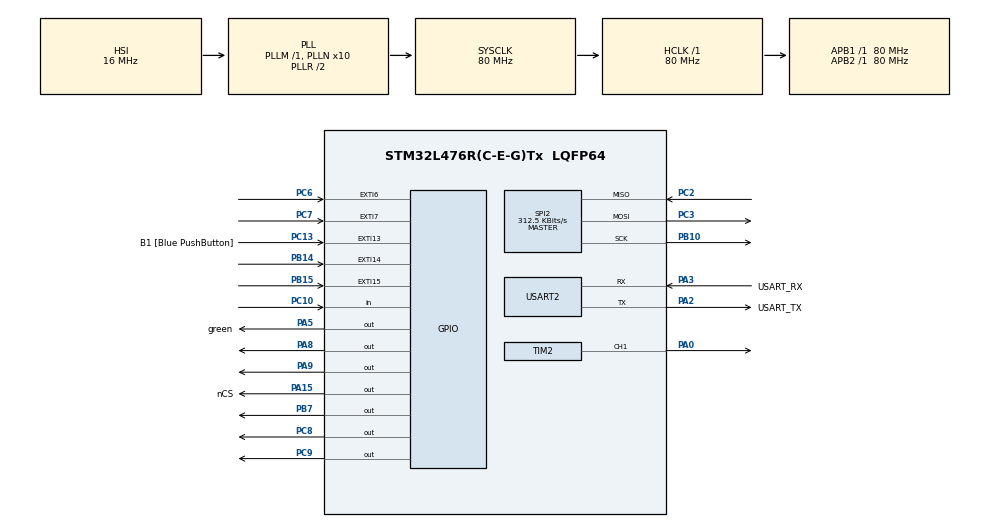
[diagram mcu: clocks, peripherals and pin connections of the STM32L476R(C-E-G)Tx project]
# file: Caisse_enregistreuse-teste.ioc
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Mcu.Family=STM32L4
Mcu.Name=STM32L476R(C-E-G)Tx
Mcu.Package=LQFP64
NVIC.PriorityGroup=NVIC_PRIORITYGROUP_4
NVIC.USART2_IRQn=true\:0\:0\:false\:false\:true\:true\:true\:true
PA0.Signal=S_TIM2_CH1
PA13\ (JTMS-SWDIO).GPIO_Label=TMS
PA13\ (JTMS-SWDIO).Mode=Serial_Wire
PA13\ (JTMS-SWDIO).Signal=SYS_JTMS-SWDIO
PA14\ (JTCK-SWCLK).GPIO_Label=TCK
PA14\ (JTCK-SWCLK).Mode=Serial_Wire
PA14\ (JTCK-SWCLK).Signal=SYS_JTCK-SWCLK
PA15\ (JTDI).GPIO_Label=nCS
PA15\ (JTDI).GPIO_PuPd=GPIO_NOPULL
PA15\ (JTDI).GPIO_Speed=GPIO_SPEED_FREQ_HIGH
PA15\ (JTDI).PinState=GPIO_PIN_SET
PA15\ (JTDI).Signal=GPIO_Output
PA2.GPIO_Label=USART_TX
PA2.GPIO_Mode=GPIO_MODE_AF_PP
PA2.GPIO_PuPd=GPIO_NOPULL
PA2.GPIO_Speed=GPIO_SPEED_FREQ_VERY_HIGH
PA2.Mode=Asynchronous
PA2.Signal=USART2_TX
PA3.GPIO_Label=USART_RX
PA3.GPIO_Mode=GPIO_MODE_AF_PP
PA3.GPIO_PuPd=GPIO_NOPULL
PA3.GPIO_Speed=GPIO_SPEED_FREQ_VERY_HIGH
PA3.Mode=Asynchronous
PA3.Signal=USART2_RX
PA5.GPIO_Label=green
PA5.GPIO_ModeDefaultOutputPP=GPIO_MODE_OUTPUT_PP
PA5.GPIO_PuPd=GPIO_NOPULL
PA5.GPIO_Speed=GPIO_SPEED_FREQ_LOW
PA5.Signal=GPIO_Output
PA8.Signal=GPIO_Output
PA9.Signal=GPIO_Output
PB10.Mode=Full_Duplex_Master
PB10.Signal=SPI2_SCK
PB14.GPIO_ModeDefaultEXTI=GPIO_MODE_IT_FALLING
PB14.GPIO_PuPd=GPIO_PULLUP
PB14.Signal=GPXTI14
PB15.GPIO_ModeDefaultEXTI=GPIO_MODE_IT_FALLING
PB15.GPIO_PuPd=GPIO_PULLUP
PB15.Signal=GPXTI15
PB7.GPIO_Speed=GPIO_SPEED_FREQ_HIGH
PB7.Signal=GPIO_Output
PC10.GPIO_PuPd=GPIO_PULLUP
PC10.Signal=GPIO_Input
PC13.GPIO_Label=B1 [Blue PushButton]
PC13.GPIO_ModeDefaultEXTI=GPIO_MODE_IT_FALLING
PC13.GPIO_PuPd=GPIO_PULLUP
PC13.Signal=GPXTI13
PC14-OSC32_IN\ (PC14).Mode=LSE-External-Oscillator
PC14-OSC32_IN\ (PC14).Signal=RCC_OSC32_IN
PC15-OSC32_OUT\ (PC15).Mode=LSE-External-Oscillator
PC15-OSC32_OUT\ (PC15).Signal=RCC_OSC32_OUT
PC2.Mode=Full_Duplex_Master
PC2.Signal=SPI2_MISO
PC3.Mode=Full_Duplex_Master
PC3.Signal=SPI2_MOSI
PC6.GPIO_ModeDefaultEXTI=GPIO_MODE_IT_FALLING
PC6.GPIO_PuPd=GPIO_PULLUP
PC6.Signal=GPXTI6
PC7.GPIO_ModeDefaultEXTI=GPIO_MODE_IT_FALLING
PC7.GPIO_PuPd=GPIO_PULLUP
PC7.Signal=GPXTI7
PC8.Signal=GPIO_Output
PC9.Signal=GPIO_Output
PH0-OSC_IN\ (PH0).Mode=HSE-External-Oscillator
PH0-OSC_IN\ (PH0).Signal=RCC_OSC_IN
PH1-OSC_OUT\ (PH1).Mode=HSE-External-Oscillator
PH1-OSC_OUT\ (PH1).Signal=RCC_OSC_OUT
ProjectManager.HeapSize=0x200
ProjectManager.StackSize=0x400
ProjectManager.TargetToolchain=STM32CubeIDE
RCC.ADCFreq_Value=64000000
RCC.AHBFreq_Value=80000000
RCC.APB1Freq_Value=80000000
RCC.APB1TimFreq_Value=80000000
RCC.APB2Freq_Value=80000000
RCC.APB2TimFreq_Value=80000000
RCC.CortexFreq_Value=80000000
RCC.HCLKFreq_Value=80000000
RCC.HSE_VALUE=8000000
RCC.HSI_VALUE=16000000
RCC.MSI_VALUE=4000000
RCC.PLLN=10
RCC.PLLSourceVirtual=RCC_PLLSOURCE_HSI
RCC.SYSCLKFreq_VALUE=80000000
RCC.SYSCLKSource=RCC_SYSCLKSOURCE_PLLCLK
RCC.USBFreq_Value=64000000
RCC.VCOOutputFreq_Value=160000000
SH.S_TIM2_CH1.0=TIM2_CH1,PWM Generation1 CH1
SPI2.BaudRatePrescaler=SPI_BAUDRATEPRESCALER_256
SPI2.CalculateBaudRate=312.5 KBits/s
SPI2.DataSize=SPI_DATASIZE_8BIT
SPI2.Direction=SPI_DIRECTION_2LINES
SPI2.Mode=SPI_MODE_MASTER
SPI2.VirtualType=VM_MASTER
TIM2.Channel-PWM\ Generation1\ CH1=TIM_CHANNEL_1
USART2.VirtualMode-Asynchronous=VM_ASYNC
VP_TIM2_VS_ClockSourceINT.Mode=Internal
board=NUCLEO-L476RG

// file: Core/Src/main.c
/* USER CODE BEGIN Header */
/**
  ******************************************************************************
  * @file           : main.c
  * @brief          : Main program body
  ******************************************************************************
  * @attention
  *
  * Copyright (c) 2025 STMicroelectronics.
  * All rights reserved.
  *
  * This software is licensed under terms that can be found in the LICENSE file
  * in the root directory of this software component.
  * If no LICENSE file comes with this software, it is provided AS-IS.
  *
  ******************************************************************************
  */
/* USER CODE END Header */
#include "main.h"
#include "spi.h"
#include "tim.h"
#include "usart.h"
#include "gpio.h"

/* USER CODE BEGIN Includes */
#include <stdint.h>
#include "pn532.h"
#include "stdio.h"
#include "string.h"
#include "pn532_stm32f1.h"
/* USER CODE END Includes */

/* USER CODE BEGIN PD */
#define use_HEXADECIMAL
/* USER CODE END PD */

/* USER CODE BEGIN PV */
PN532 pn532;

/* USER CODE END PV */

void SystemClock_Config(void);

/* USER CODE BEGIN 0 */
#ifdef __GNUC__
#define PUTCHAR_PROTOTYPE int __io_putchar(int ch)
#else
#define PUTCHAR_PROTOYPE int fputc(int ch, FILE *f)
#endif

PUTCHAR_PROTOTYPE
{
	HAL_UART_Transmit(&huart2, (uint8_t *)&ch, 1, HAL_MAX_DELAY);
	return ch;
}
/* USER CODE END 0 */

int main(void)
{

  /* USER CODE BEGIN 1 */

	uint8_t buff[255];
	uint8_t uid[MIFARE_UID_MAX_LENGTH];
	int32_t uid_len = 0;
  /* USER CODE END 1 */

  /* MCU Configuration--------------------------------------------------------*/

  /* Reset of all peripherals, Initializes the Flash interface and the Systick. */
  HAL_Init();

  /* Configure the system clock */
  SystemClock_Config();

  /* Initialize all configured peripherals */
  MX_GPIO_Init();
  MX_USART2_UART_Init();
  MX_TIM2_Init();
  MX_SPI2_Init();
  /* USER CODE BEGIN 2 */
//  void SPI_TransmitReceive(uint8_t dataToSend, uint8_t* receivedData)
//  {
//      HAL_GPIO_WritePin(GPIOA, GPIO_PIN_15, GPIO_PIN_RESET); // Activer le PN532 (mettre SS à LOW)
//
//      HAL_SPI_Transmit(&hspi2, &dataToSend, 1, HAL_MAX_DELAY); // Transmettre un octet
//
//      HAL_SPI_Receive(&hspi2, receivedData, 1, HAL_MAX_DELAY);  // Lire la réponse du PN532
//
//      HAL_GPIO_WritePin(GPIOA, GPIO_PIN_15, GPIO_PIN_SET); // Désactiver le PN532 (mettre SS à HIGH)
//  }

  /* USER CODE END 2 */

  /* Infinite loop */
  /* USER CODE BEGIN WHILE */
  while (1)
  {
	  /*HAL_GPIO_WritePin(GPIOC, GPIO_PIN_9, 1);
	  HAL_GPIO_WritePin(GPIOC, GPIO_PIN_8, 1);
	  HAL_GPIO_WritePin(GPIOB, GPIO_PIN_15, 1);
	  HAL_GPIO_WritePin(GPIOB, GPIO_PIN_14, 1);
	  if(flag==1){
		  HAL_GPIO_TogglePin(green_GPIO_Port, green_Pin);
		  flag=0;*/
	   uint8_t testByte[10] = {0xAA, 0x10, 0x20, 0xAA, 0x10, 0x20, 0xAA, 0x10, 0x20, 0xAA}; // Octet à envoyer
	   uint8_t receivedByte = 0;

	    // Envoi et réception via SPI
//	    SPI_TransmitReceive(testByte, &receivedByte);

	    // Vérifier la réponse
	    printf("Octet envoyé: 0x%02X, Octet reçu: 0x%02X\r\n", testByte, receivedByte);

	    if (HAL_GPIO_ReadPin(GPIOC, GPIO_PIN_10) == GPIO_PIN_RESET) {
	        printf("IRQ est à LOW : le PN532 a une donnée prête.\r\n");
	    } else {
	        printf("IRQ est à HIGH : le PN532 ne signale rien.\r\n");
	    }

	    HAL_Delay(1000); // Petite pause pour éviter de surcharger le terminal

	    HAL_GPIO_WritePin(nCS_GPIO_Port, nCS_Pin, RESET);
	    HAL_SPI_Transmit(&hspi2, testByte, 10, 100);
	    HAL_GPIO_WritePin(nCS_GPIO_Port, nCS_Pin, SET);
    /* USER CODE END WHILE */

  }
}

void SystemClock_Config(void)
{
  RCC_OscInitTypeDef RCC_OscInitStruct = {0};
  RCC_ClkInitTypeDef RCC_ClkInitStruct = {0};

  /** Configure the main internal regulator output voltage
  */
  if (HAL_PWREx_ControlVoltageScaling(PWR_REGULATOR_VOLTAGE_SCALE1) != HAL_OK)
  {
    Error_Handler();
  }

  /** Initializes the RCC Oscillators according to the specified parameters
  * in the RCC_OscInitTypeDef structure.
  */
  RCC_OscInitStruct.OscillatorType = RCC_OSCILLATORTYPE_HSI;
  RCC_OscInitStruct.HSIState = RCC_HSI_ON;
  RCC_OscInitStruct.HSICalibrationValue = RCC_HSICALIBRATION_DEFAULT;
  RCC_OscInitStruct.PLL.PLLState = RCC_PLL_ON;
  RCC_OscInitStruct.PLL.PLLSource = RCC_PLLSOURCE_HSI;
  RCC_OscInitStruct.PLL.PLLM = 1;
  RCC_OscInitStruct.PLL.PLLN = 10;
  RCC_OscInitStruct.PLL.PLLP = RCC_PLLP_DIV7;
  RCC_OscInitStruct.PLL.PLLQ = RCC_PLLQ_DIV2;
  RCC_OscInitStruct.PLL.PLLR = RCC_PLLR_DIV2;
  if (HAL_RCC_OscConfig(&RCC_OscInitStruct) != HAL_OK)
  {
    Error_Handler();
  }

  /** Initializes the CPU, AHB and APB buses clocks
  */
  RCC_ClkInitStruct.ClockType = RCC_CLOCKTYPE_HCLK|RCC_CLOCKTYPE_SYSCLK
                              |RCC_CLOCKTYPE_PCLK1|RCC_CLOCKTYPE_PCLK2;
  RCC_ClkInitStruct.SYSCLKSource = RCC_SYSCLKSOURCE_PLLCLK;
  RCC_ClkInitStruct.AHBCLKDivider = RCC_SYSCLK_DIV1;
  RCC_ClkInitStruct.APB1CLKDivider = RCC_HCLK_DIV1;
  RCC_ClkInitStruct.APB2CLKDivider = RCC_HCLK_DIV1;

  if (HAL_RCC_ClockConfig(&RCC_ClkInitStruct, FLASH_LATENCY_4) != HAL_OK)
  {
    Error_Handler();
  }
}

/* USER CODE BEGIN 4 */
void HAL_GPIO_EXTI_Callback(uint16_t GPIO_Pin){
	//flag=1;
}
/* USER CODE END 4 */

void Error_Handler(void)
{
  __disable_irq();
  while (1)
  {
  }
}
